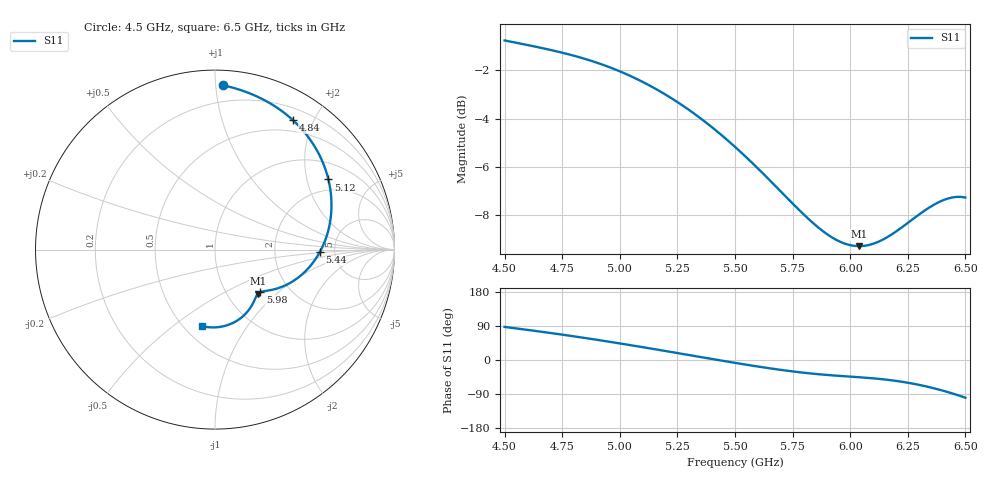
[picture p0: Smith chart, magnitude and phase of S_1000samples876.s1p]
! TOUCHSTONE file generated by CST MICROWAVE STUDIO
! Date and time: Sat Oct 29 16:17:45 2022
! Project name: L.cst
! Parameters = {Di=1.27; Epsilon_r=1.56; InnerDiameter=1.27; Length=2; Lf=10; Lg=60; OuterConductorThickness=0.2921; OuterDiameter=3.6; Wf=3; Wp=41.2; de=1.5; df=6.8; g=0.8; gx=0.780116; gy=3.80491; h=2.34; hf=1.524; px=9.66032; py=10.4116; w=9.7; wx=8.88021; wy=6.60672}
! Header version: 2018
! Port assignment regex: !\s*Touchstone port\s*([0-9]+)\s*=\s*(CST MWS port|CST DS port)\s*([0-9]+|Zmin|Zmax)\s*\(\"(.*)\"\)(\s*mode\s*([0-9]+))?.*
! Touchstone port assignment:
! Touchstone port 1 = CST MWS port 1 ("")
# GHz S DB R 50
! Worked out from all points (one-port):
!   101 points, 4.5 GHz to 6.5 GHz, reference 50 ohm
!   lowest |S11| = -9.3 dB at 6.04 GHz (marker M1), VSWR 2.04, Z = 69.2 - j38.4 ohm
!   |S11| at or under -10 dB: nowhere
!   S11 on the Smith chart (normalised r, x): 4.5 GHz: 0.09, +1.05; 4.84 GHz: 0.35, +1.72; 5.12 GHz: 1.56, +2.71; 5.44 GHz: 3.80, -0.16; 5.98 GHz: 1.43, -0.77; 6.5 GHz: 0.61, -0.64
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4.5  -0.76 87.2
4.64  -1.03 76.2
4.76  -1.29 66.0
4.84  -1.50 58.9
4.92  -1.75 51.4
5  -2.04 43.7
5.06  -2.30 37.8
5.12  -2.58 31.7
5.18  -2.90 25.6
5.26  -3.38 17.3
5.34  -3.92 9.0
5.44  -4.67 -1.4
5.5  -5.18 -7.5
5.56  -5.71 -13.4
5.62  -6.27 -19.1
5.68  -6.85 -24.4
5.76  -7.62 -30.8
5.88  -8.66 -38.4
5.98  -9.20 -43.0
6  -9.26 -43.9
6.04  -9.30 -45.6
6.14  -9.03 -50.8
6.2  -8.68 -55.2
6.26  -8.26 -61.1
6.32  -7.84 -68.4
6.38  -7.49 -77.2
6.44  -7.28 -87.6
6.5  -7.28 -99.5
